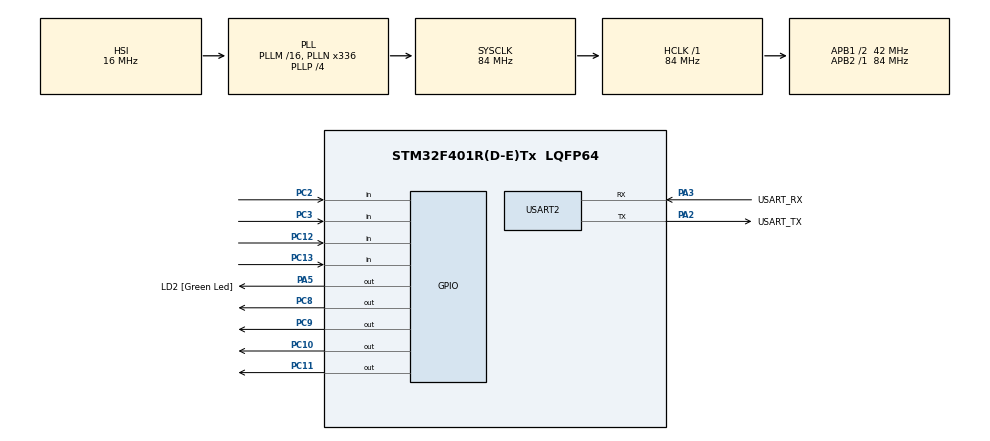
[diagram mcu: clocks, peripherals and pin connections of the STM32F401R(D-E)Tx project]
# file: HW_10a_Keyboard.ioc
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Dma.Request0=USART2_TX
Dma.USART2_TX.0.Direction=DMA_MEMORY_TO_PERIPH
Dma.USART2_TX.0.FIFOMode=DMA_FIFOMODE_DISABLE
Dma.USART2_TX.0.Instance=DMA1_Stream6
Dma.USART2_TX.0.MemDataAlignment=DMA_MDATAALIGN_BYTE
Dma.USART2_TX.0.MemInc=DMA_MINC_ENABLE
Dma.USART2_TX.0.Mode=DMA_NORMAL
Dma.USART2_TX.0.PeriphDataAlignment=DMA_PDATAALIGN_BYTE
Dma.USART2_TX.0.PeriphInc=DMA_PINC_DISABLE
Dma.USART2_TX.0.Priority=DMA_PRIORITY_HIGH
Mcu.Family=STM32F4
Mcu.Name=STM32F401R(D-E)Tx
Mcu.Package=LQFP64
NVIC.DMA1_Stream6_IRQn=true\:0\:0\:false\:false\:true\:false\:true\:true
NVIC.PriorityGroup=NVIC_PRIORITYGROUP_0
NVIC.TIM2_IRQn=true\:0\:0\:false\:false\:true\:true\:true\:true
NVIC.USART2_IRQn=true\:0\:0\:false\:false\:true\:true\:true\:true
PA13.GPIO_Label=TMS
PA13.Mode=Serial_Wire
PA13.Signal=SYS_JTMS-SWDIO
PA14.GPIO_Label=TCK
PA14.Mode=Serial_Wire
PA14.Signal=SYS_JTCK-SWCLK
PA2.GPIO_Label=USART_TX
PA2.GPIO_Mode=GPIO_MODE_AF_PP
PA2.GPIO_PuPd=GPIO_NOPULL
PA2.GPIO_Speed=GPIO_SPEED_FREQ_LOW
PA2.Mode=Asynchronous
PA2.Signal=USART2_TX
PA3.GPIO_Label=USART_RX
PA3.GPIO_Mode=GPIO_MODE_AF_PP
PA3.GPIO_PuPd=GPIO_NOPULL
PA3.GPIO_Speed=GPIO_SPEED_FREQ_LOW
PA3.Mode=Asynchronous
PA3.Signal=USART2_RX
PA5.GPIO_Label=LD2 [Green Led]
PA5.GPIO_Mode=GPIO_MODE_OUTPUT_PP
PA5.GPIO_PuPd=GPIO_NOPULL
PA5.GPIO_Speed=GPIO_SPEED_FREQ_LOW
PA5.Signal=GPIO_Output
PB3.GPIO_Label=SWO
PB3.Signal=SYS_JTDO-SWO
PC10.Signal=GPIO_Output
PC11.Signal=GPIO_Output
PC12.Signal=GPIO_Input
PC13-ANTI_TAMP.Signal=GPIO_Input
PC14-OSC32_IN.Mode=LSE-External-Oscillator
PC14-OSC32_IN.Signal=RCC_OSC32_IN
PC15-OSC32_OUT.Mode=LSE-External-Oscillator
PC15-OSC32_OUT.Signal=RCC_OSC32_OUT
PC2.Signal=GPIO_Input
PC3.Signal=GPIO_Input
PC8.Signal=GPIO_Output
PC9.Signal=GPIO_Output
PH0\ -\ OSC_IN.Mode=HSE-External-Clock-Source
PH0\ -\ OSC_IN.Signal=RCC_OSC_IN
PH1\ -\ OSC_OUT.Mode=HSE-External-Clock-Source
PH1\ -\ OSC_OUT.Signal=RCC_OSC_OUT
ProjectManager.HeapSize=0x200
ProjectManager.StackSize=0x400
ProjectManager.TargetToolchain=STM32CubeIDE
RCC.48MHZClocksFreq_Value=48000000
RCC.AHBFreq_Value=84000000
RCC.APB1CLKDivider=RCC_HCLK_DIV2
RCC.APB1Freq_Value=42000000
RCC.APB1TimFreq_Value=84000000
RCC.APB2Freq_Value=84000000
RCC.APB2TimFreq_Value=84000000
RCC.CortexFreq_Value=84000000
RCC.HCLKFreq_Value=84000000
RCC.HSE_VALUE=8000000
RCC.HSI_VALUE=16000000
RCC.PLLN=336
RCC.PLLP=RCC_PLLP_DIV4
RCC.PLLQ=7
RCC.SYSCLKFreq_VALUE=84000000
RCC.SYSCLKSource=RCC_SYSCLKSOURCE_PLLCLK
RCC.VCOOutputFreq_Value=336000000
TIM2.Period=50-1
TIM2.Prescaler=8400-1
USART2.VirtualMode=VM_ASYNC
VP_TIM2_VS_ClockSourceINT.Mode=Internal
board=NUCLEO-F401RE

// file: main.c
/* USER CODE BEGIN Header */
/**
  ******************************************************************************
  * @file           : main.c
  * @brief          : Main program body
  ******************************************************************************
  * @attention
  *
  * Copyright (c) 2024 STMicroelectronics.
  * All rights reserved.
  *
  * This software is licensed under terms that can be found in the LICENSE file
  * in the root directory of this software component.
  * If no LICENSE file comes with this software, it is provided AS-IS.
  *
  ******************************************************************************
  */
/* USER CODE END Header */
#include "main.h"

/* USER CODE BEGIN PD */

#define ROW_0 GPIOC,GPIO_PIN_3
#define ROW_1 GPIOC,GPIO_PIN_2
#define ROW_2 GPIOC,GPIO_PIN_13
#define ROW_3 GPIOC,GPIO_PIN_12

#define COL_0 GPIOC,GPIO_PIN_11
#define COL_1 GPIOC,GPIO_PIN_10
#define COL_2 GPIOC,GPIO_PIN_9
#define COL_3 GPIOC,GPIO_PIN_8

#define NUM_OF_SAMPLES 2
#define ROW_LENGTH 4
#define COLUMN_LENGTH 4

/* USER CODE END PD */

TIM_HandleTypeDef htim2;

UART_HandleTypeDef huart2;
DMA_HandleTypeDef hdma_usart2_tx;

/* USER CODE BEGIN PV */

uint8_t sample_index = 0;	//index of the samples collected in order to debounce
uint8_t col_index = 0;		//index of the number of the column
uint8_t row_index = 0;		//index of the number of the row

uint8_t btn = 0;	//button state (used also for debouncing) - if btn = 0 -> button is pressed

uint8_t i = 0;
uint8_t j = 0;
uint8_t k = 0;

uint8_t rx_data[NUM_OF_SAMPLES][COLUMN_LENGTH][ROW_LENGTH];		//buttons state - 3rd dimension stores the different samples to debounce

char out_matrix[COLUMN_LENGTH][ROW_LENGTH] = {
		{'F', 'E', 'D', 'C'},
		{'B', 'A', '9', '8'},
		{'7', '6', '5', '4'},
		{'3', '2', '1', '0'}
};

uint8_t old_btn[COLUMN_LENGTH][ROW_LENGTH] = {	//previous state of the buttons
		{1, 1, 1, 1},
		{1, 1, 1, 1},
		{1, 1, 1, 1},
		{1, 1, 1, 1},
};

/* USER CODE END PV */

void SystemClock_Config(void);
static void MX_GPIO_Init(void);
static void MX_DMA_Init(void);
static void MX_USART2_UART_Init(void);
static void MX_TIM2_Init(void);

/* USER CODE BEGIN 0 */

void HAL_TIM_PeriodElapsedCallback (TIM_HandleTypeDef *htim) {	//5ms elapsed
	if (htim == &htim2) {
		row_index = 0;

		//ROW_0
		rx_data[sample_index][row_index][col_index] = HAL_GPIO_ReadPin(ROW_0);	//save the btn state
		//debouncing: check if the btn is stably zero (check if many samples are = to 0)
		for (i = 0, btn = 0; i < NUM_OF_SAMPLES; i++)
			btn = btn || rx_data[i][row_index][col_index];

		//check if button already pressed: print only if previously not pressed, now pressed
		if (!btn && old_btn[row_index][col_index])
			HAL_UART_Transmit_DMA(&huart2, &out_matrix[row_index][col_index], 1);

		old_btn[row_index][col_index] = btn; //save the state for the next check

		//ROW_1
		rx_data[sample_index][++row_index][col_index] = HAL_GPIO_ReadPin(ROW_1);
		for (i = 0, btn = 0; i < NUM_OF_SAMPLES; i++)
			btn = btn || rx_data[i][row_index][col_index];

		if (!btn && old_btn[row_index][col_index])
			HAL_UART_Transmit_DMA(&huart2, &out_matrix[row_index][col_index], 1);

		old_btn[row_index][col_index] = btn;

		//ROW_2
		rx_data[sample_index][++row_index][col_index] = HAL_GPIO_ReadPin(ROW_2);
		for (i = 0, btn = 0; i < NUM_OF_SAMPLES; i++)
			btn = btn || rx_data[i][row_index][col_index];

		if (!btn && old_btn[row_index][col_index])
			HAL_UART_Transmit_DMA(&huart2, &out_matrix[row_index][col_index], 1);

		old_btn[row_index][col_index] = btn;

		//ROW_3
		rx_data[sample_index][++row_index][col_index] = HAL_GPIO_ReadPin(ROW_3);
		for (i = 0, btn = 0; i < NUM_OF_SAMPLES; i++)
			btn = btn || rx_data[i][row_index][col_index];

		if (!btn && old_btn[row_index][col_index])
			HAL_UART_Transmit_DMA(&huart2, &out_matrix[row_index][col_index], 1);

		old_btn[row_index][col_index] = btn;

		col_index++;
		if (col_index == ROW_LENGTH) {
			col_index = 0;
			sample_index++;	//need to acquire new sample
			if (sample_index == NUM_OF_SAMPLES)
				sample_index = 0;
		}

		//columns drive manager
		HAL_GPIO_WritePin(COL_0, (col_index == 0) ? GPIO_PIN_SET : GPIO_PIN_RESET);
		HAL_GPIO_WritePin(COL_1, (col_index == 1) ? GPIO_PIN_SET : GPIO_PIN_RESET);
		HAL_GPIO_WritePin(COL_2, (col_index == 2) ? GPIO_PIN_SET : GPIO_PIN_RESET);
		HAL_GPIO_WritePin(COL_3, (col_index == 3) ? GPIO_PIN_SET : GPIO_PIN_RESET);
	}
}

/* USER CODE END 0 */

int main(void)
{

  /* MCU Configuration--------------------------------------------------------*/

  /* Reset of all peripherals, Initializes the Flash interface and the Systick. */
  HAL_Init();

  /* Configure the system clock */
  SystemClock_Config();

  /* Initialize all configured peripherals */
  MX_GPIO_Init();
  MX_DMA_Init();
  MX_USART2_UART_Init();
  MX_TIM2_Init();
  /* USER CODE BEGIN 2 */

  for (i = 0; i < NUM_OF_SAMPLES; i++) {
      for (j = 0; j < COLUMN_LENGTH; j++) {
          for (k = 0; k < ROW_LENGTH; k++) {
              rx_data[i][j][k] = 1;
          }
      }
  }

  HAL_GPIO_WritePin(COL_0, GPIO_PIN_SET); //drive the first column

  __HAL_TIM_CLEAR_IT(&htim2, TIM_IT_UPDATE);	//clear interrupt request BEFORE enabling tim interrupt
  HAL_TIM_Base_Start_IT(&htim2); 				//start TIM2 in interrupt mode

  /* USER CODE END 2 */

  /* Infinite loop */
  while (1)
  {

  }
}

void SystemClock_Config(void)
{
  RCC_OscInitTypeDef RCC_OscInitStruct = {0};
  RCC_ClkInitTypeDef RCC_ClkInitStruct = {0};

  /** Configure the main internal regulator output voltage
  */
  __HAL_RCC_PWR_CLK_ENABLE();
  __HAL_PWR_VOLTAGESCALING_CONFIG(PWR_REGULATOR_VOLTAGE_SCALE2);

  /** Initializes the RCC Oscillators according to the specified parameters
  * in the RCC_OscInitTypeDef structure.
  */
  RCC_OscInitStruct.OscillatorType = RCC_OSCILLATORTYPE_HSI;
  RCC_OscInitStruct.HSIState = RCC_HSI_ON;
  RCC_OscInitStruct.HSICalibrationValue = RCC_HSICALIBRATION_DEFAULT;
  RCC_OscInitStruct.PLL.PLLState = RCC_PLL_ON;
  RCC_OscInitStruct.PLL.PLLSource = RCC_PLLSOURCE_HSI;
  RCC_OscInitStruct.PLL.PLLM = 16;
  RCC_OscInitStruct.PLL.PLLN = 336;
  RCC_OscInitStruct.PLL.PLLP = RCC_PLLP_DIV4;
  RCC_OscInitStruct.PLL.PLLQ = 7;
  if (HAL_RCC_OscConfig(&RCC_OscInitStruct) != HAL_OK)
  {
    Error_Handler();
  }

  /** Initializes the CPU, AHB and APB buses clocks
  */
  RCC_ClkInitStruct.ClockType = RCC_CLOCKTYPE_HCLK|RCC_CLOCKTYPE_SYSCLK
                              |RCC_CLOCKTYPE_PCLK1|RCC_CLOCKTYPE_PCLK2;
  RCC_ClkInitStruct.SYSCLKSource = RCC_SYSCLKSOURCE_PLLCLK;
  RCC_ClkInitStruct.AHBCLKDivider = RCC_SYSCLK_DIV1;
  RCC_ClkInitStruct.APB1CLKDivider = RCC_HCLK_DIV2;
  RCC_ClkInitStruct.APB2CLKDivider = RCC_HCLK_DIV1;

  if (HAL_RCC_ClockConfig(&RCC_ClkInitStruct, FLASH_LATENCY_2) != HAL_OK)
  {
    Error_Handler();
  }
}

static void MX_TIM2_Init(void)
{

  TIM_ClockConfigTypeDef sClockSourceConfig = {0};
  TIM_MasterConfigTypeDef sMasterConfig = {0};

  htim2.Instance = TIM2;
  htim2.Init.Prescaler = 8400-1;
  htim2.Init.CounterMode = TIM_COUNTERMODE_UP;
  htim2.Init.Period = 50-1;
  htim2.Init.ClockDivision = TIM_CLOCKDIVISION_DIV1;
  htim2.Init.AutoReloadPreload = TIM_AUTORELOAD_PRELOAD_DISABLE;
  if (HAL_TIM_Base_Init(&htim2) != HAL_OK)
  {
    Error_Handler();
  }
  sClockSourceConfig.ClockSource = TIM_CLOCKSOURCE_INTERNAL;
  if (HAL_TIM_ConfigClockSource(&htim2, &sClockSourceConfig) != HAL_OK)
  {
    Error_Handler();
  }
  sMasterConfig.MasterOutputTrigger = TIM_TRGO_RESET;
  sMasterConfig.MasterSlaveMode = TIM_MASTERSLAVEMODE_DISABLE;
  if (HAL_TIMEx_MasterConfigSynchronization(&htim2, &sMasterConfig) != HAL_OK)
  {
    Error_Handler();
  }

}

static void MX_USART2_UART_Init(void)
{

  huart2.Instance = USART2;
  huart2.Init.BaudRate = 115200;
  huart2.Init.WordLength = UART_WORDLENGTH_8B;
  huart2.Init.StopBits = UART_STOPBITS_1;
  huart2.Init.Parity = UART_PARITY_NONE;
  huart2.Init.Mode = UART_MODE_TX_RX;
  huart2.Init.HwFlowCtl = UART_HWCONTROL_NONE;
  huart2.Init.OverSampling = UART_OVERSAMPLING_16;
  if (HAL_UART_Init(&huart2) != HAL_OK)
  {
    Error_Handler();
  }

}

static void MX_DMA_Init(void)
{

  /* DMA controller clock enable */
  __HAL_RCC_DMA1_CLK_ENABLE();

  /* DMA interrupt init */
  /* DMA1_Stream6_IRQn interrupt configuration */
  HAL_NVIC_SetPriority(DMA1_Stream6_IRQn, 0, 0);
  HAL_NVIC_EnableIRQ(DMA1_Stream6_IRQn);

}

static void MX_GPIO_Init(void)
{
  GPIO_InitTypeDef GPIO_InitStruct = {0};

  /* GPIO Ports Clock Enable */
  __HAL_RCC_GPIOC_CLK_ENABLE();
  __HAL_RCC_GPIOH_CLK_ENABLE();
  __HAL_RCC_GPIOA_CLK_ENABLE();
  __HAL_RCC_GPIOB_CLK_ENABLE();

  /*Configure GPIO pin Output Level */
  HAL_GPIO_WritePin(LD2_GPIO_Port, LD2_Pin, GPIO_PIN_RESET);

  /*Configure GPIO pin Output Level */
  HAL_GPIO_WritePin(GPIOC, GPIO_PIN_8|GPIO_PIN_9|GPIO_PIN_10|GPIO_PIN_11, GPIO_PIN_RESET);

  /*Configure GPIO pins : PC13 PC2 PC3 PC12 */
  GPIO_InitStruct.Pin = GPIO_PIN_13|GPIO_PIN_2|GPIO_PIN_3|GPIO_PIN_12;
  GPIO_InitStruct.Mode = GPIO_MODE_INPUT;
  GPIO_InitStruct.Pull = GPIO_NOPULL;
  HAL_GPIO_Init(GPIOC, &GPIO_InitStruct);

  /*Configure GPIO pin : LD2_Pin */
  GPIO_InitStruct.Pin = LD2_Pin;
  GPIO_InitStruct.Mode = GPIO_MODE_OUTPUT_PP;
  GPIO_InitStruct.Pull = GPIO_NOPULL;
  GPIO_InitStruct.Speed = GPIO_SPEED_FREQ_LOW;
  HAL_GPIO_Init(LD2_GPIO_Port, &GPIO_InitStruct);

  /*Configure GPIO pins : PC8 PC9 PC10 PC11 */
  GPIO_InitStruct.Pin = GPIO_PIN_8|GPIO_PIN_9|GPIO_PIN_10|GPIO_PIN_11;
  GPIO_InitStruct.Mode = GPIO_MODE_OUTPUT_PP;
  GPIO_InitStruct.Pull = GPIO_NOPULL;
  GPIO_InitStruct.Speed = GPIO_SPEED_FREQ_LOW;
  HAL_GPIO_Init(GPIOC, &GPIO_InitStruct);

}

void Error_Handler(void)
{
  __disable_irq();
  while (1)
  {
  }
}
